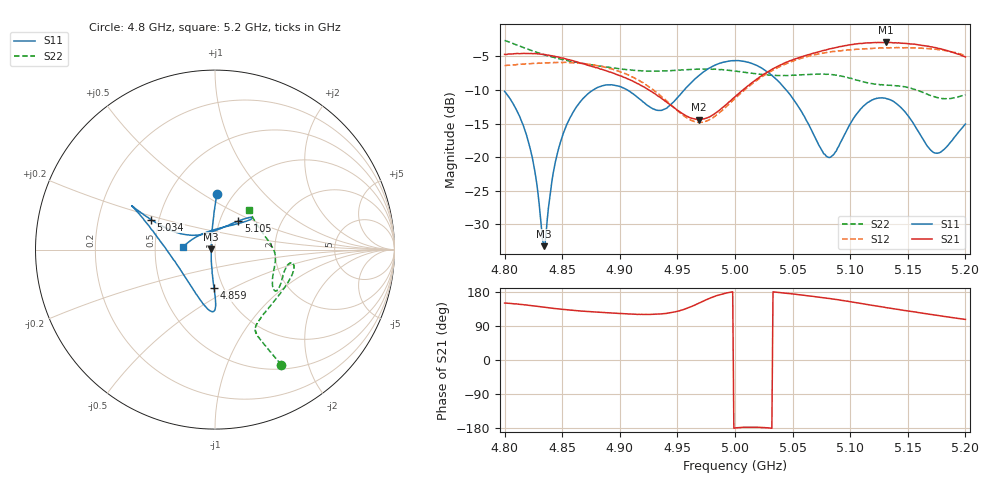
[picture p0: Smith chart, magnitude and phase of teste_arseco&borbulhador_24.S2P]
! Network Analyzer HP8722D
! Hewlett-Packard
! Data name: Linha & Wilkinson
! Saver's name: Rodrigo Anjos
! Comments: Teste da utilização de aquisição
! continua pelo VNA HP8722D
! Time and date: 15/4/2025 15:50
!  Frequency  S11  S21  S12  S22
# HZ  S  MA R 50
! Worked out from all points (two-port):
!   401 points, 4.8 GHz to 5.2 GHz, reference 50 ohm
!   highest |S21| = -2.89 dB at 5.131 GHz (marker M1); lowest = -14.4 dB at 4.969 GHz (marker M2)
!   |S21| within 3 dB of the highest: start of sweep to 4.864 GHz; 5.044 GHz to end of sweep
!   lowest |S11| = -33.2 dB at 4.834 GHz (marker M3), VSWR 1.04, Z = 47.9 + j0.186 ohm
!   |S11| at or under -10 dB: start of sweep to 4.877 GHz; 4.907 GHz to 4.956 GHz (49.44 MHz wide, 1 % of centre); 5.045 GHz to end of sweep
!   |S22| runs from -11.3 to -2.6 dB; largest |S21 - S12| = 1.3
!   S11 on the Smith chart (normalised r, x): 4.8 GHz: 0.84, +0.57; 4.859 GHz: 0.90, -0.40; 5.034 GHz: 0.45, +0.18; 5.105 GHz: 1.23, +0.41; 5.2 GHz: 0.70, +0.02
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4.8e9  0.3092 88.2  0.5825 150.2  0.4809 -111.6  0.7394 -60.0
4.812e9  0.2104 91.3  0.59 147.3  0.4897 -111.2  0.6779 -61.1
4.821e9  0.1277 96.4  0.5914 144.2  0.4965 -110.8  0.6327 -61.8
4.827e9  0.07166 105.6  0.5896 142.2  0.4989 -110.1  0.6073 -62.3
4.834e9  0.02176 174.9  0.5823 139.4  0.5029 -109.6  0.5802 -62.9
4.836e9  0.02718 -142.4  0.5776 138.7  0.5033 -109.3  0.5722 -63.0
4.84e9  0.05764 -111.3  0.5694 137.3  0.5056 -109.2  0.5608 -63.2
4.845e9  0.1001 -100.3  0.5592 135.4  0.5069 -108.9  0.5469 -63.6
4.859e9  0.2129 -91.5  0.5239 131.1  0.5049 -108.7  0.5159 -63.8
4.867e9  0.2663 -89.7  0.5 129.0  0.4987 -108.8  0.5007 -63.1
4.895e9  0.3439 -93.8  0.4204 123.7  0.4472 -111.7  0.4599 -57.2
4.934e9  0.2229 -146.1  0.2825 121.2  0.2941 -116.3  0.4369 -35.5
4.969e9  0.4077 158.8  0.1901 150.6  0.1814 -85.3  0.4526 -16.9
5e9  0.5244 152.3  0.2818 -179.6  0.2737 -49.8  0.4371 -10.0
5.034e9  0.3937 154.8  0.4599 179.5  0.4495 -43.3  0.4072 -15.4
5.067e9  0.1559 148.9  0.5914 168.2  0.5736 -46.7  0.4139 -29.4
5.083e9  0.1 101.8  0.6415 161.7  0.6083 -49.5  0.4118 -33.8
5.105e9  0.2065 50.7  0.6957 151.5  0.6355 -54.5  0.3761 -31.7
5.131e9  0.2739 40.0  0.7168 138.2  0.6521 -62.4  0.3437 -14.7
5.134e9  0.2689 39.9  0.7138 137.0  0.6516 -63.4  0.3433 -12.5
5.174e9  0.1073 104.6  0.6542 118.5  0.6357 -77.3  0.2808 20.1
5.2e9  0.1766 174.5  0.5565 107.1  0.5721 -86.2  0.2914 49.9
